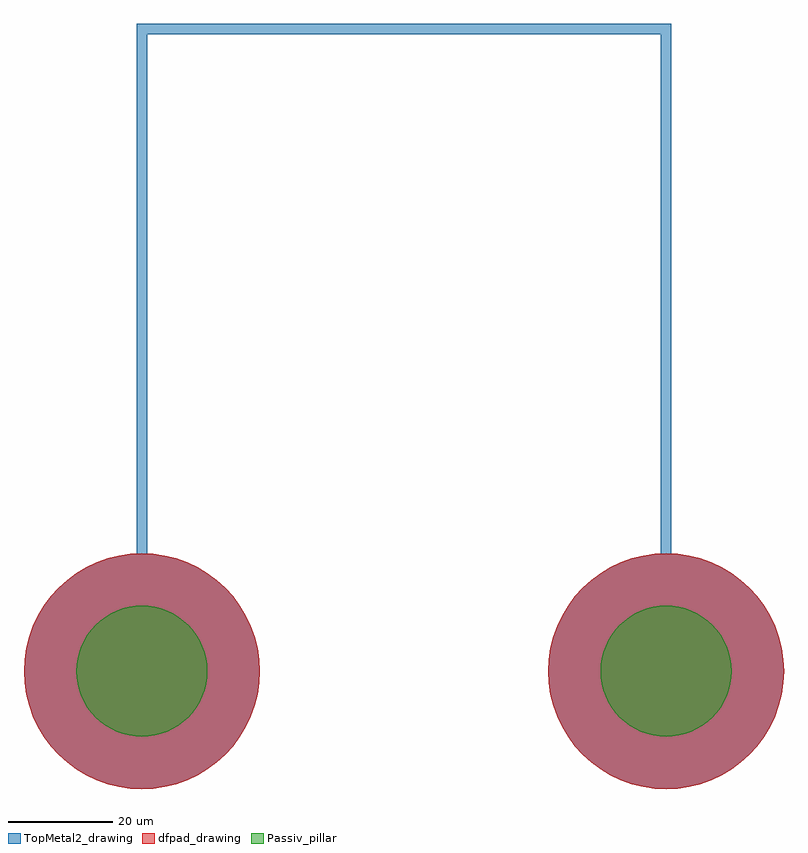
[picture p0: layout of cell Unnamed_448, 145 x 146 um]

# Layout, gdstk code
from math import pi, radians
import gdstk
lib = gdstk.Library(unit=1e-6, precision=1e-09)
def R(c, l, rs):  # rectangles x0, y0, x1, y1
    for r in rs: c.add(gdstk.rectangle(r[:2], r[2:], *l))
def P(c, l, *ps):  # polygons
    for p in ps: c.add(gdstk.Polygon(p, *l))
Passiv_pillar = (9, 35)
dfpad_drawing = (41, 0)
TopMetal2_drawing = (134, 0)

straight_l10_csstrip_wno = lib.new_cell('straight_L10_CSstrip_WNone_N2')
R(straight_l10_csstrip_wno, TopMetal2_drawing, [(0,-1,10,1)])

cupillarpad = lib.new_cell('CuPillarPad')
P(cupillarpad, Passiv_pillar, [(0,-12.5),(-1.225,-12.44),(-2.439,-12.26),(-3.629,-11.962),(-4.784,-11.548),(-5.892,-11.024),(-6.945,-10.393),(-7.93,-9.663),(-8.839,-8.839),(-9.663,-7.93),(-10.393,-6.945),(-11.024,-5.892),(-11.548,-4.784),(-11.962,-3.629),(-12.26,-2.439),(-12.44,-1.225),(-12.5,0),(-12.44,1.225),(-12.26,2.439),(-11.962,3.629),(-11.548,4.784),(-11.024,5.892),(-10.393,6.945),(-9.663,7.93),(-8.839,8.839),(-7.93,9.663),(-6.945,10.393),(-5.892,11.024),(-4.784,11.548),(-3.629,11.962),(-2.439,12.26),(-1.225,12.44),(0,12.5),(1.225,12.44),(2.439,12.26),(3.629,11.962),(4.784,11.548),(5.892,11.024),(6.945,10.393),(7.93,9.663),(8.839,8.839),(9.663,7.93),(10.393,6.945),(11.024,5.892),(11.548,4.784),(11.962,3.629),(12.26,2.439),(12.44,1.225),(12.5,0),(12.44,-1.225),(12.26,-2.439),(11.962,-3.629),(11.548,-4.784),(11.024,-5.892),(10.393,-6.945),(9.663,-7.93),(8.839,-8.839),(7.93,-9.663),(6.945,-10.393),(5.892,-11.024),(4.784,-11.548),(3.629,-11.962),(2.439,-12.26),(1.225,-12.44)])
P(cupillarpad, dfpad_drawing, [(0,-22.5),(-2.205,-22.392),(-4.39,-22.068),(-6.531,-21.531),(-8.61,-20.787),(-10.606,-19.843),(-12.5,-18.708),(-14.274,-17.393),(-15.91,-15.91),(-17.393,-14.274),(-18.708,-12.5),(-19.843,-10.606),(-20.787,-8.61),(-21.531,-6.531),(-22.068,-4.39),(-22.392,-2.205),(-22.5,0),(-22.392,2.205),(-22.068,4.39),(-21.531,6.531),(-20.787,8.61),(-19.843,10.606),(-18.708,12.5),(-17.393,14.274),(-15.91,15.91),(-14.274,17.393),(-12.5,18.708),(-10.606,19.843),(-8.61,20.787),(-6.531,21.531),(-4.39,22.068),(-2.205,22.392),(0,22.5),(2.205,22.392),(4.39,22.068),(6.531,21.531),(8.61,20.787),(10.606,19.843),(12.5,18.708),(14.274,17.393),(15.91,15.91),(17.393,14.274),(18.708,12.5),(19.843,10.606),(20.787,8.61),(21.531,6.531),(22.068,4.39),(22.392,2.205),(22.5,0),(22.392,-2.205),(22.068,-4.39),(21.531,-6.531),(20.787,-8.61),(19.843,-10.606),(18.708,-12.5),(17.393,-14.274),(15.91,-15.91),(14.274,-17.393),(12.5,-18.708),(10.606,-19.843),(8.61,-20.787),(6.531,-21.531),(4.39,-22.068),(2.205,-22.392)])
P(cupillarpad, TopMetal2_drawing, [(0,-22.5),(-2.205,-22.392),(-4.39,-22.068),(-6.531,-21.531),(-8.61,-20.787),(-10.606,-19.843),(-12.5,-18.708),(-14.274,-17.393),(-15.91,-15.91),(-17.393,-14.274),(-18.708,-12.5),(-19.843,-10.606),(-20.787,-8.61),(-21.531,-6.531),(-22.068,-4.39),(-22.392,-2.205),(-22.5,0),(-22.392,2.205),(-22.068,4.39),(-21.531,6.531),(-20.787,8.61),(-19.843,10.606),(-18.708,12.5),(-17.393,14.274),(-15.91,15.91),(-14.274,17.393),(-12.5,18.708),(-10.606,19.843),(-8.61,20.787),(-6.531,21.531),(-4.39,22.068),(-2.205,22.392),(0,22.5),(2.205,22.392),(4.39,22.068),(6.531,21.531),(8.61,20.787),(10.606,19.843),(12.5,18.708),(14.274,17.393),(15.91,15.91),(17.393,14.274),(18.708,12.5),(19.843,10.606),(20.787,8.61),(21.531,6.531),(22.068,4.39),(22.392,2.205),(22.5,0),(22.392,-2.205),(22.068,-4.39),(21.531,-6.531),(20.787,-8.61),(19.843,-10.606),(18.708,-12.5),(17.393,-14.274),(15.91,-15.91),(14.274,-17.393),(12.5,-18.708),(10.606,-19.843),(8.61,-20.787),(6.531,-21.531),(4.39,-22.068),(2.205,-22.392)])

wire_corner_csmetal_rout = lib.new_cell('wire_corner_CSmetal_routing_WNone')
R(wire_corner_csmetal_rout, TopMetal2_drawing, [(-1,-1,1,1)])

straight_l44_csmetal_rou = lib.new_cell('straight_L44_CSmetal_routing_W2_N2')
R(straight_l44_csmetal_rou, TopMetal2_drawing, [(0,-1,44,1)])

straight_l121p5_csmetal_ = lib.new_cell('straight_L121p5_CSmetal_routing_W2_N2')
R(straight_l121p5_csmetal_, TopMetal2_drawing, [(0,-1,121.5,1)])

unnamed_448 = lib.new_cell('Unnamed_448')
unnamed_448.add(gdstk.Reference(straight_l10_csstrip_wno, (0,0)))
unnamed_448.add(gdstk.Reference(cupillarpad, (-45,-122.5), rotation=3*pi/2))
unnamed_448.add(gdstk.Reference(cupillarpad, (55,-122.5), rotation=3*pi/2))
unnamed_448.add(gdstk.Reference(straight_l10_csstrip_wno, (0,0)))
unnamed_448.add(gdstk.Reference(wire_corner_csmetal_rout, (-45,0), rotation=pi/2, x_reflection=True))
unnamed_448.add(gdstk.Reference(straight_l44_csmetal_rou, (0,0), rotation=pi))
unnamed_448.add(gdstk.Reference(straight_l121p5_csmetal_, (-45,-1), rotation=3*pi/2))
unnamed_448.add(gdstk.Reference(wire_corner_csmetal_rout, (55,0), rotation=pi/2))
unnamed_448.add(gdstk.Reference(straight_l44_csmetal_rou, (10,0)))
unnamed_448.add(gdstk.Reference(straight_l121p5_csmetal_, (55,-1), rotation=3*pi/2))

lib.write_gds('Unnamed_448.gds')
